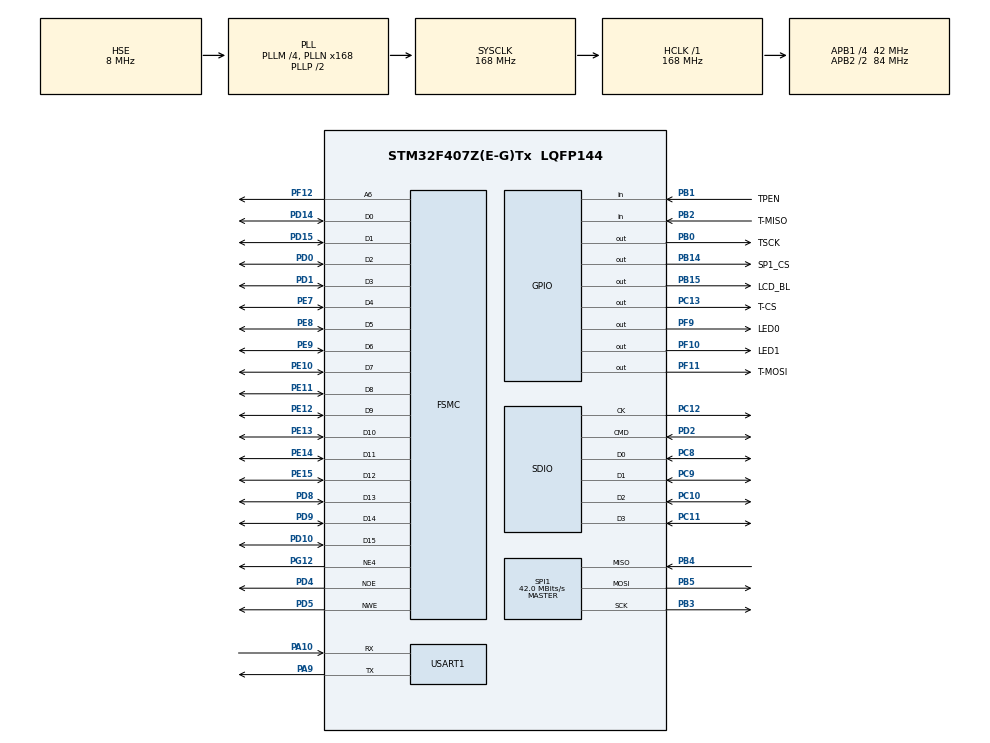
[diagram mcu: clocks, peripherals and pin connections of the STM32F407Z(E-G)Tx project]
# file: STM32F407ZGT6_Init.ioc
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Dma.Request0=SDIO_RX
Dma.Request1=SDIO_TX
Dma.SDIO_RX.0.Direction=DMA_PERIPH_TO_MEMORY
Dma.SDIO_RX.0.FIFOMode=DMA_FIFOMODE_ENABLE
Dma.SDIO_RX.0.FIFOThreshold=DMA_FIFO_THRESHOLD_FULL
Dma.SDIO_RX.0.Instance=DMA2_Stream3
Dma.SDIO_RX.0.MemBurst=DMA_MBURST_INC4
Dma.SDIO_RX.0.MemDataAlignment=DMA_MDATAALIGN_WORD
Dma.SDIO_RX.0.MemInc=DMA_MINC_ENABLE
Dma.SDIO_RX.0.Mode=DMA_PFCTRL
Dma.SDIO_RX.0.PeriphBurst=DMA_PBURST_INC4
Dma.SDIO_RX.0.PeriphDataAlignment=DMA_PDATAALIGN_WORD
Dma.SDIO_RX.0.PeriphInc=DMA_PINC_DISABLE
Dma.SDIO_RX.0.Priority=DMA_PRIORITY_LOW
Dma.SDIO_TX.1.Direction=DMA_MEMORY_TO_PERIPH
Dma.SDIO_TX.1.FIFOMode=DMA_FIFOMODE_ENABLE
Dma.SDIO_TX.1.FIFOThreshold=DMA_FIFO_THRESHOLD_FULL
Dma.SDIO_TX.1.Instance=DMA2_Stream6
Dma.SDIO_TX.1.MemBurst=DMA_MBURST_INC4
Dma.SDIO_TX.1.MemDataAlignment=DMA_MDATAALIGN_WORD
Dma.SDIO_TX.1.MemInc=DMA_MINC_ENABLE
Dma.SDIO_TX.1.Mode=DMA_PFCTRL
Dma.SDIO_TX.1.PeriphBurst=DMA_PBURST_INC4
Dma.SDIO_TX.1.PeriphDataAlignment=DMA_PDATAALIGN_WORD
Dma.SDIO_TX.1.PeriphInc=DMA_PINC_DISABLE
Dma.SDIO_TX.1.Priority=DMA_PRIORITY_LOW
FATFS.USE_DMA_CODE_SD=1
FATFS._CODE_PAGE=936
FATFS._USE_LFN=2
FATFS._VOLUMES=2
FSMC.AddressSetupTime1=0x0F
FSMC.BusTurnAroundDuration1=0
FSMC.DataSetupTime1=60
FSMC.ExtendedAddressSetupTime1=9
FSMC.ExtendedBusTurnAroundDuration1=0
FSMC.ExtendedDataSetupTime1=9
FSMC.ExtendedMode1=FSMC_EXTENDED_MODE_ENABLE
Mcu.Family=STM32F4
Mcu.Name=STM32F407Z(E-G)Tx
Mcu.Package=LQFP144
NVIC.DMA2_Stream3_IRQn=true\:0\:0\:false\:false\:true\:false\:true\:true
NVIC.DMA2_Stream6_IRQn=true\:0\:0\:false\:false\:true\:false\:true\:true
NVIC.PriorityGroup=NVIC_PRIORITYGROUP_4
NVIC.SDIO_IRQn=true\:0\:0\:false\:false\:true\:true\:true\:true
NVIC.USART1_IRQn=true\:2\:0\:true\:false\:true\:true\:true\:true
PA10.Mode=Asynchronous
PA10.Signal=USART1_RX
PA13.Mode=Serial_Wire
PA13.Signal=SYS_JTMS-SWDIO
PA14.Mode=Serial_Wire
PA14.Signal=SYS_JTCK-SWCLK
PA9.Mode=Asynchronous
PA9.Signal=USART1_TX
PB0.GPIO_Label=TSCK
PB0.Signal=GPIO_Output
PB1.GPIO_Label=TPEN
PB1.GPIO_PuPd=GPIO_PULLUP
PB1.Signal=GPIO_Input
PB14.GPIO_Label=SP1_CS
PB14.GPIO_PuPd=GPIO_PULLUP
PB14.GPIO_Speed=GPIO_SPEED_FREQ_MEDIUM
PB14.Signal=GPIO_Output
PB15.GPIO_Label=LCD_BL
PB15.Signal=GPIO_Output
PB2.GPIO_Label=T-MISO
PB2.GPIO_PuPd=GPIO_PULLUP
PB2.Signal=GPIO_Input
PB3.Mode=Full_Duplex_Master
PB3.Signal=SPI1_SCK
PB4.Mode=Full_Duplex_Master
PB4.Signal=SPI1_MISO
PB5.Mode=Full_Duplex_Master
PB5.Signal=SPI1_MOSI
PC10.Mode=SD_4_bits_Wide_bus
PC10.Signal=SDIO_D2
PC11.Mode=SD_4_bits_Wide_bus
PC11.Signal=SDIO_D3
PC12.Mode=SD_4_bits_Wide_bus
PC12.Signal=SDIO_CK
PC13-ANTI_TAMP.GPIO_Label=T-CS
PC13-ANTI_TAMP.Signal=GPIO_Output
PC14-OSC32_IN.Mode=LSE-External-Oscillator
PC14-OSC32_IN.Signal=RCC_OSC32_IN
PC15-OSC32_OUT.Mode=LSE-External-Oscillator
PC15-OSC32_OUT.Signal=RCC_OSC32_OUT
PC8.Mode=SD_4_bits_Wide_bus
PC8.Signal=SDIO_D0
PC9.Mode=SD_4_bits_Wide_bus
PC9.Signal=SDIO_D1
PD0.Signal=FSMC_D2_DA2
PD1.Signal=FSMC_D3_DA3
PD10.Signal=FSMC_D15_DA15
PD14.Signal=FSMC_D0_DA0
PD15.Signal=FSMC_D1_DA1
PD2.Mode=SD_4_bits_Wide_bus
PD2.Signal=SDIO_CMD
PD4.Signal=FSMC_NOE
PD5.Signal=FSMC_NWE
PD8.Signal=FSMC_D13_DA13
PD9.Signal=FSMC_D14_DA14
PE10.Signal=FSMC_D7_DA7
PE11.Signal=FSMC_D8_DA8
PE12.Signal=FSMC_D9_DA9
PE13.Signal=FSMC_D10_DA10
PE14.Signal=FSMC_D11_DA11
PE15.Signal=FSMC_D12_DA12
PE7.Signal=FSMC_D4_DA4
PE8.Signal=FSMC_D5_DA5
PE9.Signal=FSMC_D6_DA6
PF10.GPIO_Label=LED1
PF10.GPIO_PuPd=GPIO_PULLUP
PF10.Signal=GPIO_Output
PF11.GPIO_Label=T-MOSI
PF11.Signal=GPIO_Output
PF12.Signal=FSMC_A6
PF9.GPIO_Label=LED0
PF9.GPIO_PuPd=GPIO_PULLUP
PF9.Signal=GPIO_Output
PG12.Mode=NorPsramChipSelect4_1
PG12.Signal=FSMC_NE4
PH0-OSC_IN.Mode=HSE-External-Oscillator
PH0-OSC_IN.Signal=RCC_OSC_IN
PH1-OSC_OUT.Mode=HSE-External-Oscillator
PH1-OSC_OUT.Signal=RCC_OSC_OUT
ProjectManager.HeapSize=0x800
ProjectManager.StackSize=0x1000
ProjectManager.TargetToolchain=MDK-ARM V5.32
RCC.48MHZClocksFreq_Value=48000000
RCC.AHBFreq_Value=168000000
RCC.APB1CLKDivider=RCC_HCLK_DIV4
RCC.APB1Freq_Value=42000000
RCC.APB1TimFreq_Value=84000000
RCC.APB2CLKDivider=RCC_HCLK_DIV2
RCC.APB2Freq_Value=84000000
RCC.APB2TimFreq_Value=168000000
RCC.CortexFreq_Value=168000000
RCC.HCLKFreq_Value=168000000
RCC.HSE_VALUE=8000000
RCC.HSI_VALUE=16000000
RCC.PLLM=4
RCC.PLLN=168
RCC.PLLQ=7
RCC.PLLSourceVirtual=RCC_PLLSOURCE_HSE
RCC.RCC_RTC_Clock_Source=RCC_RTCCLKSOURCE_LSE
RCC.RCC_RTC_Clock_SourceVirtual=RCC_RTCCLKSOURCE_LSE
RCC.SYSCLKFreq_VALUE=168000000
RCC.SYSCLKSource=RCC_SYSCLKSOURCE_PLLCLK
RCC.VCOOutputFreq_Value=336000000
RTC.Date=16
RTC.Hours=23
RTC.Minutes=59
RTC.Month=RTC_MONTH_JULY
RTC.Seconds=40
RTC.WeekDay=RTC_WEEKDAY_TUESDAY
RTC.Year=24
SH.FSMC_A6.0=FSMC_A6,A6_1
SH.FSMC_D0_DA0.0=FSMC_D0,16b-d1
SH.FSMC_D10_DA10.0=FSMC_D10,16b-d1
SH.FSMC_D11_DA11.0=FSMC_D11,16b-d1
SH.FSMC_D12_DA12.0=FSMC_D12,16b-d1
SH.FSMC_D13_DA13.0=FSMC_D13,16b-d1
SH.FSMC_D14_DA14.0=FSMC_D14,16b-d1
SH.FSMC_D15_DA15.0=FSMC_D15,16b-d1
SH.FSMC_D1_DA1.0=FSMC_D1,16b-d1
SH.FSMC_D2_DA2.0=FSMC_D2,16b-d1
SH.FSMC_D3_DA3.0=FSMC_D3,16b-d1
SH.FSMC_D4_DA4.0=FSMC_D4,16b-d1
SH.FSMC_D5_DA5.0=FSMC_D5,16b-d1
SH.FSMC_D6_DA6.0=FSMC_D6,16b-d1
SH.FSMC_D7_DA7.0=FSMC_D7,16b-d1
SH.FSMC_D8_DA8.0=FSMC_D8,16b-d1
SH.FSMC_D9_DA9.0=FSMC_D9,16b-d1
SH.FSMC_NOE.0=FSMC_NOE,Lcd1
SH.FSMC_NWE.0=FSMC_NWE,Lcd1
SPI1.BaudRatePrescaler=SPI_BAUDRATEPRESCALER_2
SPI1.CalculateBaudRate=42.0 MBits/s
SPI1.Direction=SPI_DIRECTION_2LINES
SPI1.Mode=SPI_MODE_MASTER
SPI1.VirtualType=VM_MASTER
TIM6.Prescaler=83
USART1.VirtualMode=VM_ASYNC
VP_FATFS_VS_SDIO.Mode=SDIO
VP_RTC_VS_RTC_Activate.Mode=RTC_Enabled
VP_RTC_VS_RTC_Calendar.Mode=RTC_Calendar
VP_TIM6_VS_ClockSourceINT.Mode=Enable_Timer
board=custom

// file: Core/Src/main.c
/* USER CODE BEGIN Header */
/**
  ******************************************************************************
  * @file           : main.c
  * @brief          : Main program body
  ******************************************************************************
  * @attention
  *
  * Copyright (c) 2024 STMicroelectronics.
  * All rights reserved.
  *
  * This software is licensed under terms that can be found in the LICENSE file
  * in the root directory of this software component.
  * If no LICENSE file comes with this software, it is provided AS-IS.
  *
  ******************************************************************************
  */
/* USER CODE END Header */
#include "main.h"
#include "dma.h"
#include "fatfs.h"
#include "rtc.h"
#include "sdio.h"
#include "spi.h"
#include "tim.h"
#include "usart.h"
#include "gpio.h"
#include "fsmc.h"

/* USER CODE BEGIN Includes */
#include "lcd.h"
#include "touch.h"
#include "w25qxx.h"
/* USER CODE END Includes */

/* USER CODE BEGIN PD */
UINT fnum;
BYTE ReadBuffer[1024] = {0};
BYTE WriteBuffer[] ="This is STM32 working with FatFs\r\n";
const char Filename[] = "test.txt";

/* USER CODE END PD */

void SystemClock_Config(void);
/* USER CODE BEGIN PFP */
RTC_TimeTypeDef GetTime;
RTC_DateTypeDef GetData;
/* USER CODE END PFP */

/* USER CODE BEGIN 0 */
void testFATFS(const char* Filename,BYTE write_buff[],uint8_t bufSize, UINT bw)
{
	 retSD=f_mount(&SDFatFS, (TCHAR const*)SDPath, 0);//挂载
		if(retSD==FR_OK)
		{
			HAL_UART_Transmit(&huart1,(uint8_t*)"挂载SD卡成功!\r\n",15,100);
		}
		//写入文件测试
		HAL_UART_Transmit(&huart1,(uint8_t*)"写入文件测试!\r\n",15,100);
//		retSD = f_open(&SDFile,(const char*)"测试.txt",FA_CREATE_ALWAYS|FA_WRITE);
		retSD = f_open(&SDFile,Filename,FA_CREATE_ALWAYS|FA_WRITE);
		if(retSD==FR_OK)
		{
			HAL_UART_Transmit(&huart1,(uint8_t*)"打开文件\"测试.txt\"成功!\r\n",25,100);
		}
		retSD = f_write(&SDFile,write_buff,bufSize,&bw);
		if(retSD==FR_OK)
		{
			HAL_UART_Transmit(&huart1,(uint8_t*)"写入文件成功!\r\n",15,100);
			printf("bw is %d",bw);
		}
		retSD = f_close(&SDFile);
		if(retSD==FR_OK)
		{
			HAL_UART_Transmit(&huart1,(uint8_t*)"关闭文件成功!\r\n\r\n",17,100);
		}
		//读取文件测试
		HAL_UART_Transmit(&huart1,(uint8_t*)"读取文件测试!\r\n",15,100);
		retSD = f_open(&SDFile,Filename,FA_OPEN_EXISTING|FA_READ);//打开文件
		if(retSD==FR_OK)
		{
			HAL_UART_Transmit(&huart1,(uint8_t*)"打开文件\"测试.txt\"成功!\r\n",25,100);
		}
		retSD = f_read(&SDFile,write_buff,bufSize,&bw);
		if(retSD==FR_OK)
		{
			HAL_UART_Transmit(&huart1,(uint8_t*)"读取文件成功!文件内容：",23,100);
			HAL_UART_Transmit(&huart1,write_buff,bw,100);
			printf("br is %d",bw);
		}
		retSD = f_close(&SDFile);
		if(retSD==FR_OK)
		{
			HAL_UART_Transmit(&huart1,(uint8_t*)"关闭文件成功!\r\n",15,100);
		}
}
/* USER CODE END 0 */

int main(void)
{
  /* USER CODE BEGIN 1 */
	char Data[50],Time[50];
  /* USER CODE END 1 */

  /* MCU Configuration--------------------------------------------------------*/

  /* Reset of all peripherals, Initializes the Flash interface and the Systick. */
  HAL_Init();

  /* Configure the system clock */
  SystemClock_Config();

  /* Initialize all configured peripherals */
  MX_GPIO_Init();
  MX_DMA_Init();
  MX_FSMC_Init();
  MX_USART1_UART_Init();
  MX_TIM6_Init();
  MX_SPI1_Init();
  MX_RTC_Init();
  MX_SDIO_SD_Init();
  MX_FATFS_Init();
  /* USER CODE BEGIN 2 */
	LCD_Init();
	W25QXX_Init();
	GBK_Lib_Init();//硬件GBK字库初始化--(如果使用不带字库的液晶屏版本，此处可以屏蔽，不做字库初始化）
	tp_dev.init();				//触摸屏初始化
	// 开启串口接收中断
  HAL_UART_Receive_IT(&huart1, (uint8_t *)&usart1Recv.recvData, 1);
//	Demo_Menu();
	printf("W25Q16id is 0X%X",W25QXX_ReadID());
  /* USER CODE END 2 */

  /* Infinite loop */
  /* USER CODE BEGIN WHILE */
  while (1)
  {

		if(GetTime.Seconds == 59)
		{
			HAL_Delay(1000);
			LCD_Clear(WHITE);
			/* Get the RTC current Time */
			HAL_RTC_GetTime(&hrtc, &GetTime, RTC_FORMAT_BIN);//当秒是59的时候就刷新
			/* Get the RTC current Date */
			HAL_RTC_GetDate(&hrtc, &GetData, RTC_FORMAT_BIN);

		}else
		{
			/* Get the RTC current Time */
			HAL_RTC_GetTime(&hrtc, &GetTime, RTC_FORMAT_BIN);//当秒是59的时候就刷新
			/* Get the RTC current Date */
			HAL_RTC_GetDate(&hrtc, &GetData, RTC_FORMAT_BIN);

		}

		sprintf(Data,"%s%d%s%d%s%d%s","20",GetData.Year,"年", GetData.Month,"月",GetData.Date,"日");
		sprintf(Time,"%s%d%s%d%s%d","时间",GetTime.Hours,":",GetTime.Minutes,":",GetTime.Seconds);
		GBK_Show_Str(0,80,240,32,(u8*)Data,32,BLUE,WHITE,0);
		GBK_Show_Str(0,150,240,32,(u8*)Time,32,BLUE,WHITE,0);
		if(TP_Scan(1))
			printf("x is 0x%X,y is 0x%X\r\n",tp_dev.x[0],tp_dev.y[0]);
		if(usart1Recv.recvFlag == 1)
		{
			usart1Recv.recvFlag = 0;
			if(strcmp((const char*)usart1Recv.recvBuff, "LED\r") == 0)
			{
				// 发送数据
				printf("%s",usart1Recv.recvBuff);
				printf("temp is %d\r\n",temp);
				HAL_GPIO_TogglePin(LED0_GPIO_Port,LED0_Pin);
				HAL_GPIO_TogglePin(LED1_GPIO_Port,LED1_Pin);
			}
			if(strcmp((const char*)usart1Recv.recvBuff, "Write\r") == 0)
			{
				// 发送数据
				printf("%s",usart1Recv.recvBuff);
				testFATFS(Filename,WriteBuffer,sizeof(WriteBuffer), fnum);
			}
			if(strcmp((const char*)usart1Recv.recvBuff, "Read\r") == 0)
			{
				// 发送数据
				printf("%s",usart1Recv.recvBuff);
			}
			if(strcmp((const char*)usart1Recv.recvBuff, "InitSD\r") == 0)
			{

			}
			// 发送数据
			printf("UART_FLAG\r\n");
			memset(usart1Recv.recvBuff,0,sizeof(usart1Recv.recvBuff));
		}
    /* USER CODE END WHILE */

  }
}

void SystemClock_Config(void)
{
  RCC_OscInitTypeDef RCC_OscInitStruct = {0};
  RCC_ClkInitTypeDef RCC_ClkInitStruct = {0};

  /** Configure the main internal regulator output voltage
  */
  __HAL_RCC_PWR_CLK_ENABLE();
  __HAL_PWR_VOLTAGESCALING_CONFIG(PWR_REGULATOR_VOLTAGE_SCALE1);

  /** Initializes the RCC Oscillators according to the specified parameters
  * in the RCC_OscInitTypeDef structure.
  */
  RCC_OscInitStruct.OscillatorType = RCC_OSCILLATORTYPE_HSE|RCC_OSCILLATORTYPE_LSE;
  RCC_OscInitStruct.HSEState = RCC_HSE_ON;
  RCC_OscInitStruct.LSEState = RCC_LSE_ON;
  RCC_OscInitStruct.PLL.PLLState = RCC_PLL_ON;
  RCC_OscInitStruct.PLL.PLLSource = RCC_PLLSOURCE_HSE;
  RCC_OscInitStruct.PLL.PLLM = 4;
  RCC_OscInitStruct.PLL.PLLN = 168;
  RCC_OscInitStruct.PLL.PLLP = RCC_PLLP_DIV2;
  RCC_OscInitStruct.PLL.PLLQ = 7;
  if (HAL_RCC_OscConfig(&RCC_OscInitStruct) != HAL_OK)
  {
    Error_Handler();
  }

  /** Initializes the CPU, AHB and APB buses clocks
  */
  RCC_ClkInitStruct.ClockType = RCC_CLOCKTYPE_HCLK|RCC_CLOCKTYPE_SYSCLK
                              |RCC_CLOCKTYPE_PCLK1|RCC_CLOCKTYPE_PCLK2;
  RCC_ClkInitStruct.SYSCLKSource = RCC_SYSCLKSOURCE_PLLCLK;
  RCC_ClkInitStruct.AHBCLKDivider = RCC_SYSCLK_DIV1;
  RCC_ClkInitStruct.APB1CLKDivider = RCC_HCLK_DIV4;
  RCC_ClkInitStruct.APB2CLKDivider = RCC_HCLK_DIV2;

  if (HAL_RCC_ClockConfig(&RCC_ClkInitStruct, FLASH_LATENCY_5) != HAL_OK)
  {
    Error_Handler();
  }
}

void Error_Handler(void)
{
  __disable_irq();
  while (1)
  {
  }
}
